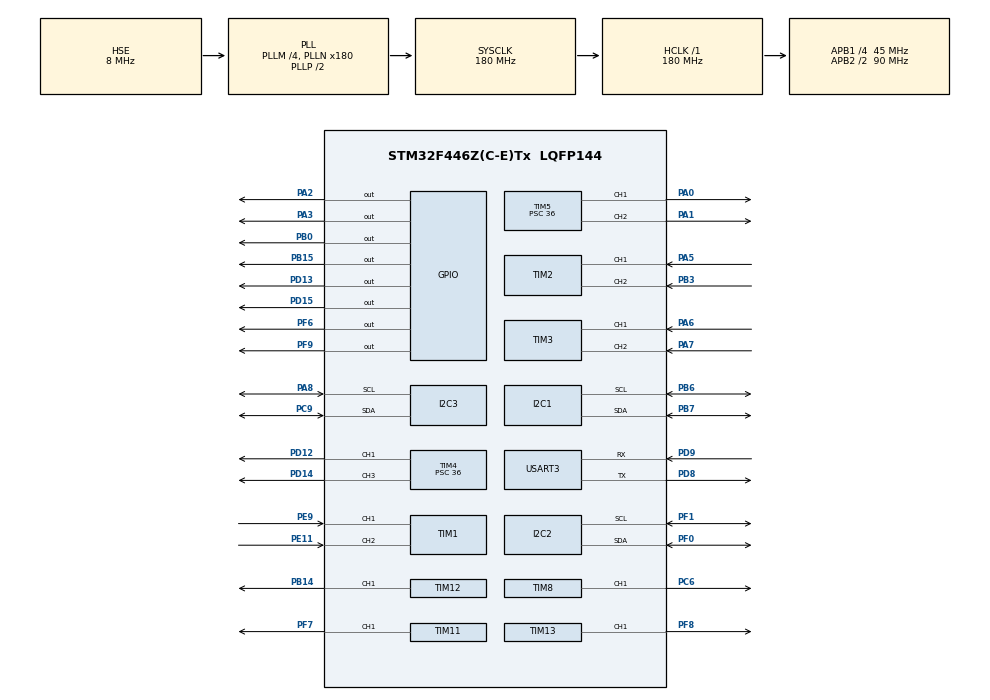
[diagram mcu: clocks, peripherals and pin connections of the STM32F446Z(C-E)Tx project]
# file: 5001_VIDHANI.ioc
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Mcu.Family=STM32F4
Mcu.Name=STM32F446Z(C-E)Tx
Mcu.Package=LQFP144
NVIC.PriorityGroup=NVIC_PRIORITYGROUP_4
PA0-WKUP.Signal=S_TIM5_CH1
PA1.Signal=S_TIM5_CH2
PA2.Signal=GPIO_Output
PA3.Signal=GPIO_Output
PA5.Signal=S_TIM2_CH1_ETR
PA6.Signal=S_TIM3_CH1
PA7.Signal=S_TIM3_CH2
PA8.Mode=I2C
PA8.Signal=I2C3_SCL
PB0.Signal=GPIO_Output
PB14.Signal=S_TIM12_CH1
PB15.Signal=GPIO_Output
PB3.Signal=S_TIM2_CH2
PB6.Mode=I2C
PB6.Signal=I2C1_SCL
PB7.Mode=I2C
PB7.Signal=I2C1_SDA
PC14-OSC32_IN.Mode=LSE-External-Oscillator
PC14-OSC32_IN.Signal=RCC_OSC32_IN
PC15-OSC32_OUT.Mode=LSE-External-Oscillator
PC15-OSC32_OUT.Signal=RCC_OSC32_OUT
PC6.Signal=S_TIM8_CH1
PC9.Mode=I2C
PC9.Signal=I2C3_SDA
PD12.Signal=S_TIM4_CH1
PD13.Signal=GPIO_Output
PD14.Signal=S_TIM4_CH3
PD15.Signal=GPIO_Output
PD8.Mode=Asynchronous
PD8.Signal=USART3_TX
PD9.Mode=Asynchronous
PD9.Signal=USART3_RX
PE11.Signal=S_TIM1_CH2
PE9.Signal=S_TIM1_CH1
PF0.Mode=I2C
PF0.Signal=I2C2_SDA
PF1.Mode=I2C
PF1.Signal=I2C2_SCL
PF6.Signal=GPIO_Output
PF7.Signal=S_TIM11_CH1
PF8.Signal=S_TIM13_CH1
PF9.Signal=GPIO_Output
PH0-OSC_IN.Mode=HSE-External-Oscillator
PH0-OSC_IN.Signal=RCC_OSC_IN
PH1-OSC_OUT.Mode=HSE-External-Oscillator
PH1-OSC_OUT.Signal=RCC_OSC_OUT
ProjectManager.HeapSize=0x200
ProjectManager.StackSize=0x400
ProjectManager.TargetToolchain=STM32CubeIDE
RCC.48MHZClocksFreq_Value=24000000
RCC.AHBFreq_Value=180000000
RCC.APB1CLKDivider=RCC_HCLK_DIV4
RCC.APB1Freq_Value=45000000
RCC.APB1TimFreq_Value=90000000
RCC.APB2CLKDivider=RCC_HCLK_DIV2
RCC.APB2Freq_Value=90000000
RCC.APB2TimFreq_Value=180000000
RCC.CortexFreq_Value=180000000
RCC.HCLKFreq_Value=180000000
RCC.HSE_Timout=100
RCC.HSE_VALUE=8000000
RCC.HSI_VALUE=16000000
RCC.PLLM=4
RCC.PLLMUL=RCC_PLL_MUL9
RCC.PLLN=180
RCC.PLLSourceVirtual=RCC_PLLSOURCE_HSE
RCC.PRESCALERUSB=RCC_USBCLKSOURCE_PLL_DIV1_5
RCC.SYSCLKFreq_VALUE=180000000
RCC.SYSCLKSource=RCC_SYSCLKSOURCE_PLLCLK
RCC.SYSCLKSourceVirtual=RCC_SYSCLKSOURCE_PLLCLK
RCC.USBFreq_Value=180000000
RCC.VCOOutputFreq_Value=360000000
SH.S_TIM11_CH1.0=TIM11_CH1,PWM Generation1 CH1
SH.S_TIM12_CH1.0=TIM12_CH1,PWM Generation1 CH1
SH.S_TIM13_CH1.0=TIM13_CH1,PWM Generation1 CH1
SH.S_TIM1_CH1.0=TIM1_CH1,Encoder_Interface
SH.S_TIM1_CH2.0=TIM1_CH2,Encoder_Interface
SH.S_TIM2_CH1_ETR.0=TIM2_CH1,Encoder_Interface
SH.S_TIM2_CH2.0=TIM2_CH2,Encoder_Interface
SH.S_TIM3_CH1.0=TIM3_CH1,Encoder_Interface
SH.S_TIM3_CH2.0=TIM3_CH2,Encoder_Interface
SH.S_TIM4_CH1.0=TIM4_CH1,PWM Generation1 CH1
SH.S_TIM4_CH3.0=TIM4_CH3,PWM Generation3 CH3
SH.S_TIM5_CH1.0=TIM5_CH1,PWM Generation1 CH1
SH.S_TIM5_CH2.0=TIM5_CH2,PWM Generation2 CH2
SH.S_TIM8_CH1.0=TIM8_CH1,PWM Generation1 CH1
TIM11.Channel=TIM_CHANNEL_1
TIM11.Prescaler=36
TIM12.Channel-PWM\ Generation1\ CH1=TIM_CHANNEL_1
TIM12.Period=256
TIM12.Prescaler=36
TIM13.Channel=TIM_CHANNEL_1
TIM13.Prescaler=36
TIM4.Channel-PWM\ Generation1\ CH1=TIM_CHANNEL_1
TIM4.Channel-PWM\ Generation3\ CH3=TIM_CHANNEL_3
TIM4.Prescaler=36
TIM5.Channel-PWM\ Generation1\ CH1=TIM_CHANNEL_1
TIM5.Channel-PWM\ Generation2\ CH2=TIM_CHANNEL_2
TIM5.Period=256
TIM5.Prescaler=36
TIM8.Channel-PWM\ Generation1\ CH1=TIM_CHANNEL_1
TIM8.Period=255
TIM8.Prescaler=36
USART3.VirtualMode=VM_ASYNC
VP_TIM11_VS_ClockSourceINT.Mode=Enable_Timer
VP_TIM12_VS_ClockSourceINT.Mode=Internal
VP_TIM13_VS_ClockSourceINT.Mode=Enable_Timer
VP_TIM14_VS_ClockSourceINT.Mode=Enable_Timer
VP_TIM5_VS_ClockSourceINT.Mode=Internal
VP_TIM8_VS_ClockSourceINT.Mode=Internal
board=NUCLEO-F446ZE

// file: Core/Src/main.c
/* USER CODE BEGIN Header */
/**
 ******************************************************************************
 * @file           : main.c
 * @brief          : Main program body
 ******************************************************************************
 * @attention
 *
 * Copyright (c) 2026 STMicroelectronics.
 * All rights reserved.
 *
 * This software is licensed under terms that can be found in the LICENSE file
 * in the root directory of this software component.
 * If no LICENSE file comes with this software, it is provided AS-IS.
 *
 ******************************************************************************
 */
/* USER CODE END Header */
#include "main.h"

/* USER CODE BEGIN Includes */
#include <stdio.h>
#include <string.h>
#include <stdlib.h>
#include <stdbool.h>
#include"Encoderlib.h"
#include "Cytron.h"
#include "PCA9685.h"
#include "OdriveS1.h"
#include <math.h>
/* USER CODE END Includes */

/* USER CODE BEGIN PTD */
Cytron SM1;
Cytron Turret;
Cytron Belt;

/* USER CODE END PTD */

/* USER CODE BEGIN PD */
Cytron m1, m2, m3;

encoder_instance L_enc, R_enc, F_enc;
uint16_t timer_counter1, timer_counter2, timer_counter3, timer_counter4;
float L_dist, R_dist, F_dist;
#define CPR 8192
#define WHEEL_RADIUS 5.4/2.0

#define LENGTH1 13.5
#define LENGTH2 13.5
#define LENGTH3 26        // x axis wheel

#define PI 3.14159265358979323846
float x_local, y_local, x_global, y_global;
double FCount = 0, LCount = 0, RCount = 0;
double prevFCount = 0, prevLCount = 0, prevRCount = 0;
double dF, dL, dR;
double xPosition = 0;
double yPosition = 0;
double thetaPosition = 0;

double deltaX, deltaY;
double deltaX_global, deltaY_global;

bool reached = false;

double prevTheta = 0;   // IMU previous heading

#define BNO055_ADDR (0x28 << 1)
#define PWR_MODE 0x3E
#define OPR_MODE 0x3D
#define EUL_DATA_START 0x1A

uint8_t bno_data[6];
float current_heading, current_roll, current_pitch;

#define radius       1
#define length       1
#define MAX_PWM       120
#define LINEAR_PWM   60
#define DEADZONE     20
#define dt           0.001

int pwm1, pwm2, pwm3;
float PWM1, PWM2, PWM3;

float bot_vel, theta;
int16_t omega;
bool flag = false;
bool moving = false;
bool is_omega = false;
bool pid_tim = false;
bool horizontal = false;
bool vertical = false;
bool point = false;

float P, I, D;
float p, i, d;

float kp = 1.1;   // linear pid
float ki = 0;
float kd = 0;

float Kp = 1.1;   // correction pid
float Ki = 0;
float Kd = 0;

float KP = 2.8; // angular pid
float KI = 0;
float KD = 0.5;

float vel;

float error, error1, error2, d_error;
float ERR, ERR1, ERR2, D_error;
float correction;
float CORRECTION;
float target_heading = 0;

float target_distance, current_distance, angle;

bool pid = true;

unsigned long t_start, t_end;
float dt2;

volatile bool imu = false;
volatile bool value = false;

uint32_t i2c1, i2c2;

/* USER CODE END PD */

/* USER CODE BEGIN PM */
#define data_size 7
#define slave_addr 8

#define DEADZONE  20

/* USER CODE END PM */

I2C_HandleTypeDef hi2c1;
I2C_HandleTypeDef hi2c2;
I2C_HandleTypeDef hi2c3;

TIM_HandleTypeDef htim1;
TIM_HandleTypeDef htim2;
TIM_HandleTypeDef htim3;
TIM_HandleTypeDef htim4;
TIM_HandleTypeDef htim5;
TIM_HandleTypeDef htim8;
TIM_HandleTypeDef htim11;
TIM_HandleTypeDef htim12;
TIM_HandleTypeDef htim13;
TIM_HandleTypeDef htim14;

UART_HandleTypeDef huart3;

/* USER CODE BEGIN PV */
int8_t data[data_size];

char msg[300];
int L_joystick_x = 0, L_joystick_y = 0, R_joystick_x = 0, R_joystick_y = 0;

bool right;
bool down;
bool up;
bool left;
bool square;
bool cross;
bool circle;
bool triangle;

bool PS, Touchpad, Options, Share, R3, L3, R1, L1;

PCA_t PCA;
/* USER CODE END PV */

void SystemClock_Config(void);
static void MX_GPIO_Init(void);
static void MX_TIM8_Init(void);
static void MX_I2C1_Init(void);
static void MX_USART3_UART_Init(void);
static void MX_I2C3_Init(void);
static void MX_TIM5_Init(void);
static void MX_TIM12_Init(void);
static void MX_TIM13_Init(void);
static void MX_TIM14_Init(void);
static void MX_TIM4_Init(void);
static void MX_TIM11_Init(void);
static void MX_TIM1_Init(void);
static void MX_TIM2_Init(void);
static void MX_TIM3_Init(void);
static void MX_I2C2_Init(void);

/* USER CODE BEGIN 0 */

uint8_t RxData[8];

uint32_t blink_delay;

char msg1[150];

float radians(float angle) {
	return angle * 2 * 3.14159265358979323846 / 360.0;
}

float degrees(float angle) {
	return angle * 360.0 / (2 * 3.14159265358979323846);
}

//  long map(long x, long in_min, long in_max, long out_min, long out_max)
//  {
//    return (x - in_min) * (out_max - out_min) / (in_max - in_min) + out_min;
//  }

float constrain(float num, float min, float max) {

	if (num > max) {
		return max;
	}

	else if (num < min) {
		return min;
	}

	else {
		return num;
	}
}

void BNO055_init() {

	uint8_t pwr = 0x00;
	uint8_t opr = 0x0C;
	uint8_t config = 0x00;

	HAL_I2C_Mem_Write(&hi2c2, BNO055_ADDR, OPR_MODE, 1, &config, 1, 100); // setting to config mode
	HAL_I2C_Mem_Write(&hi2c2, BNO055_ADDR, PWR_MODE, 1, &pwr, 1, 100); // setting bno055 to normal mode
	HAL_I2C_Mem_Write(&hi2c2, BNO055_ADDR, OPR_MODE, 1, &opr, 1, 100); // setting to Ndof mode

	HAL_Delay(700);

}

float normalise_angle(float angle) {
	if (angle > 180.0) {
		angle -= 360.0;
	}
	if (angle < -180.0) {
		angle += 360.0;
	}
	return angle;
}

void get_angle() {

	if (HAL_I2C_Mem_Read(&hi2c2, BNO055_ADDR, EUL_DATA_START, 1, bno_data, 6,
			100) == HAL_OK) {

		int16_t heading_raw = (int16_t) ((bno_data[1] << 8) | bno_data[0]);
		current_heading = heading_raw / 16.0;

		current_heading = -normalise_angle(current_heading);
	}
}

void rotate_motor(int pwm1, int pwm2, int pwm3) {

	RotateCytron(&m1, pwm1);
	RotateCytron(&m2, pwm2);
	RotateCytron(&m3, pwm3);

}

void find_wheel_vel(){

	  bot_vel = sqrt( pow(L_joystick_x, 2) + pow( L_joystick_y, 2) );
	  theta = atan2(L_joystick_y, L_joystick_x) - radians(target_heading);

	  pwm1 = constrain(((bot_vel*cos(theta) - (length*omega)) / radius) + CORRECTION, -MAX_PWM, MAX_PWM);
	  pwm2 = constrain(((sqrt(3)*bot_vel*sin(theta) - bot_vel*cos(theta) - 2*length*omega) / (2*radius)) + CORRECTION, -MAX_PWM, MAX_PWM);
	  pwm3 = constrain((-1*((bot_vel*cos(theta) + sqrt(3)*bot_vel*sin(theta) + 2*length*omega) / (2*radius))) + CORRECTION, -MAX_PWM, MAX_PWM);

}

void PID2() {

	ERR = normalise_angle(target_heading - current_heading);
	D_error = ERR - ERR2;
	ERR2 = ERR;

	p = ERR * KP;
	i = i + (ERR * (float) dt2 * KI);
	d = (D_error / (float) dt2) * KD;

	CORRECTION = p + i + d;

}

//void get_enc_value() {
//
//	//        timer_counter1 = __HAL_TIM_GET_COUNTER(&htim1);
//	//      	timer_counter2 = __HAL_TIM_GET_COUNTER(&htim2);
//	//      	timer_counter3 = __HAL_TIM_GET_COUNTER(&htim3);
//
//	update_encoder(&L_enc, &htim1);
//	update_encoder(&R_enc, &htim2);
//	update_encoder(&F_enc, &htim3);
//
//	double trueTheta = radians(current_heading);
//
//	// IMU DELTA THETA
//	double delTheta = trueTheta - prevTheta;
//
//	if (delTheta > PI) {
//		delTheta -= 2 * PI;
//	}
//
//	if (delTheta < -PI) {
//		delTheta += 2 * PI;
//	}
//
//	double midTheta = prevTheta + (delTheta / 2.0);
//
//	// ENCODER READ
//	FCount = F_enc.position;
//	LCount = L_enc.position;
//	//      	  RCount = R_enc.position;
//	RCount = 0;
//
//	dF = FCount - prevFCount;
//	dL = LCount - prevLCount;
//	dR = RCount - prevRCount;
//
//	// TRANSLATION
//	deltaX = (dF / CPR) * 2 * PI * WHEEL_RADIUS * 650.0 / 625.0;
//	//deltaY = (((dL + dR) / 2.0 )/ CPR) * 2 * PI * RADIUS;
//	deltaY = (dL / CPR) * 2 * PI * WHEEL_RADIUS * 650.0 / 620.0;
//	xPosition += deltaX;
//	yPosition -= deltaY;
//
//	prevFCount = FCount;
//	prevLCount = LCount;
//	prevRCount = RCount;
//	prevTheta = trueTheta;
//}

//void move1(float x1, float y1, float x2, float y2) {
//
//	//	  bot_vel = sqrt( pow(L_joystick_x, 2) + pow( L_joystick_y, 2) );
//	//	  theta = atan2(L_joystick_y, L_joystick_x) - radians(target_heading);
//
//	target_distance = sqrt(pow(x1 - x2, 2) + pow(y1 - y2, 2));
//	current_distance = sqrt(pow(xPosition - x1, 2) + pow(yPosition - y1, 2));
//
//	//float angle = atan2(y2 - y1, x2 - x1) - radians(target_heading);
//	angle = atan2(y2 - yPosition, x2 - xPosition) - radians(target_heading);
//
//	error = target_distance - current_distance;
//	d_error = error - error2;
//	error2 = error;
//
//	P = error * kp;
//	I = I + (error * dt2 * ki);
//	D = (D_error / dt2) * kd;
//
//	vel = (P + I + D);
//
//	PWM1 = constrain(((vel * cos(angle) - (length * omega))) / radius,
//			-LINEAR_PWM, LINEAR_PWM);
//	PWM2 =
//			constrain(
//					((sqrt(3) * vel * sin(angle) - vel * cos(angle)
//							- 2 * length * omega) / (2 * radius)), -LINEAR_PWM,
//					LINEAR_PWM);
//	PWM3 = constrain(
//			(-1
//					* ((vel * cos(angle) + sqrt(3) * vel * sin(angle)
//							+ 2 * length * omega) / (2 * radius))), -LINEAR_PWM,
//			LINEAR_PWM);
//
//	pwm1 = constrain(PWM1 + CORRECTION, -MAX_PWM, MAX_PWM);
//	pwm2 = constrain(PWM2 + CORRECTION, -MAX_PWM, MAX_PWM);
//	pwm3 = constrain(PWM3 + CORRECTION, -MAX_PWM, MAX_PWM);
//
//	//    	       pwm1 = constrain(   CORRECTION , -MAX_PWM, MAX_PWM);
//	//    	    	pwm2 = constrain(   CORRECTION - 40 , -MAX_PWM, MAX_PWM);
//	//    	    	pwm3 = constrain(   CORRECTION  + 40, -MAX_PWM, MAX_PWM);
//
//	if (abs(error) < 5) {
//		reached = true;
//		//rotate_motor(0, 0, 0);
//	}
//}
//
//void move2(float x1, float y1, float x2, float y2) {
//	PID2();
//
//	if (!vertical) {
//		move1(x1, y1, x1, y2);
////   		  sprintf(msg, "x = %.2f   y = %.2f  pwm1 = %f, pwm2 = %f, pwm3 = %f  angle = %2.f  %.2f error%.2f  %.2f \r\n" ,xPosition , yPosition, PWM1, PWM2, PWM3, degrees(angle), current_heading, error, vel);
////   		       HAL_UART_Transmit(&huart3, (uint8_t*)msg, strlen(msg), HAL_MAX_DELAY);
//		if (!reached) {
//			//      move1(x1, y1, x1, y2);
//			//      sprintf(msg, "x = %.2f   y = %.2f  pwm1 = %d, pwm2 = %d, pwm3 = %d vertical angle = %2.f  %.2f \r\n" ,xPosition , yPosition, pwm1, pwm2, pwm3, degrees(angle), current_heading);
//			//      HAL_UART_Transmit(&huart3, (uint8_t*)msg, strlen(msg), HAL_MAX_DELAY);
//		} else {
//			//	  move1(x1, y1, x1, y2);
//			vertical = false;
//			reached = false;
//			//HAL_Delay(250);
//			//	  sprintf(msg, "x = %.2f   y = %.2f error = %.2f reached vertical \r\n" ,xPosition , yPosition, error);
//			//	       HAL_UART_Transmit(&huart3, (uint8_t*)msg, strlen(msg), HAL_MAX_DELAY);
//		}
//
//	}
//
//	if (!horizontal && vertical) {
//		if (!reached) {
//			//      move1(x1, y1, x1, y2);
//			move1(x1, y2, x2, y2);
//			//           sprintf(msg, "x = %.2f   y = %.2f  pwm1 = %f, pwm2 = %f, pwm3 = %f horizontal angle = %2.f  %.2f  %.2f\r\n" ,xPosition , yPosition, pwm1, pwm2, pwm3, degrees(angle), current_heading, vel);
//			//           HAL_UART_Transmit(&huart3, (uint8_t*)msg, strlen(msg), HAL_MAX_DELAY);
//		} else {
//			move1(x1, y2, x2, y2);
//			horizontal = true;
//			reached = false;
//			//HAL_Delay(25000000);
//			//	  sprintf(msg, "x = %.2f   y = %.2f error = %.2f reached vertical \r\n" ,xPosition , yPosition, error);
//			//	       HAL_UART_Transmit(&huart3, (uint8_t*)msg, strlen(msg), HAL_MAX_DELAY);
//		}
//	}
//}

void get_value() {

	if (HAL_OK
			== (HAL_I2C_Master_Receive(&hi2c1, slave_addr << 1, (uint8_t*) data,
			data_size, HAL_MAX_DELAY))) {

		up = ((data[0] & (1 << 0)) ? 1 : 0);
		right = ((data[0] & (1 << 1)) ? 1 : 0);
		down = ((data[0] & (1 << 2)) ? 1 : 0);
		left = ((data[0] & (1 << 3)) ? 1 : 0);
		triangle = ((data[0] & (1 << 4)) ? 1 : 0);
		circle = ((data[0] & (1 << 5)) ? 1 : 0);
		cross = ((data[0] & (1 << 6)) ? 1 : 0);
		square = ((data[0] & (1 << 7)) ? 1 : 0);

		L1 = ((data[1] & (1 << 0)) ? 1 : 0);
		R1 = ((data[1] & (1 << 1)) ? 1 : 0);
		L3 = ((data[1] & (1 << 2)) ? 1 : 0);
		R3 = ((data[1] & (1 << 3)) ? 1 : 0);
		Share = ((data[1] & (1 << 4)) ? 1 : 0);
		Options = ((data[1] & (1 << 5)) ? 1 : 0);
		Touchpad = ((data[1] & (1 << 6)) ? 1 : 0);
		PS = ((data[1] & (1 << 7)) ? 1 : 0);

		omega = data[6];
		R_joystick_y = data[5];
		R_joystick_x = data[4];
		L_joystick_x = data[2];
		L_joystick_y = data[3];

		if (abs(L_joystick_x) < DEADZONE) {
			L_joystick_x = 0;
		}
		if (abs(L_joystick_y) < DEADZONE) {
			L_joystick_y = 0;
		}
		if (abs(omega) < DEADZONE) {
			omega = 0;
		}

		sprintf(msg,
				" sq %d x %d o %d tri %d left %d down %d right %d up %d  PS %d Touchpad %d Options %d Share %d R3 %d L3 %d R1 %d L1 %d lx %d ly %d rx %d ry%d omega %d \r\n",
				square, cross, circle, triangle, left, down, right, up, PS,
				Touchpad, Options, Share, R3, L3, R1, L1, L_joystick_x,
				L_joystick_y, R_joystick_x, R_joystick_y, omega);

		//sprintf(msg,"%d   %d\r\n" data[4], data[5]);
		HAL_UART_Transmit(&huart3, (uint8_t*) msg, strlen(msg), HAL_MAX_DELAY);

	}
}

void STAFF_Motor() {
	if (R_joystick_y > 50) {
		RotateCytron(&SM1, 50);
	} else if (R_joystick_y < -50) {
		RotateCytron(&SM1, -50);
	} else {
		StopCytron(&SM1);
	}

}

typedef struct {
	bool prevState;
	bool flag;
} ToggleButton;

ToggleButton StaffGripServo = { 0 };
ToggleButton StaffAttackServo = { 0 };

void STAFF_Servo() {
	// GRIP SERVO
	if (square && !StaffGripServo.prevState) {
		StaffGripServo.prevState = true;
		StaffGripServo.flag = !StaffGripServo.flag;

		if (StaffGripServo.flag) {
//			RotateServo(&PCA, GRIP_SERVO_1, GRIP_SERVO_1_GRIP_ANGLE);
//			RotateServo(&PCA, 8, 90);
			RotateServo(&PCA, 11, 90);
			RotateServo(&PCA, 3, 90);
		} else {
//			RotateServo(&PCA, GRIP_SERVO_1, GRIP_SERVO_1_RELEASE_ANGLE);
//			RotateServo(&PCA, 8, 150);
			RotateServo(&PCA, 11, 150);
			RotateServo(&PCA, 3, 150);
		}
	} else if (!square) {
		StaffGripServo.prevState = false;
	}

	// ATTACK SERVO
	if (triangle && !StaffAttackServo.prevState) {
		StaffAttackServo.prevState = true;
		StaffAttackServo.flag = !StaffAttackServo.flag;

		if (StaffAttackServo.flag) {
//			RotateServo(&PCA, ATTACK_SERVO_1, ATTACK_SERVO_1_ATTACK_ANGLE);
			RotateServo(&PCA, 12, 110);
			RotateServo(&PCA, 10, 15);
			RotateServo(&PCA, 2, 67);
		} else {
//			RotateServo(&PCA, ATTACK_SERVO_1, ATTACK_SERVO_1_NORMAL_ANGLE);
			RotateServo(&PCA, 12, 110 + 47);
			RotateServo(&PCA, 10, 58);
			RotateServo(&PCA, 2, 110);
		}
	} else if (!triangle) {
		StaffAttackServo.prevState = false;
	}
}

void STAFF_Motion() {
	STAFF_Motor();
	STAFF_Servo();
}

void TurretMotor() {
	if (right) {
		RotateCytron(&Turret, 50);
	} else if (left) {
		RotateCytron(&Turret, -50);
	} else {
		StopCytron(&Turret);
	}
}

void BeltMotor() {
	if (up) {
		RotateCytron(&Belt, 50);
	} else if (down) {
		RotateCytron(&Belt, -50);
	} else {
		StopCytron(&Belt);
	}
}

ToggleButton KFSPickServo = { 0 };

void KFS_Pick_Servo() {
	// GRIP SERVO
	if (circle && !KFSPickServo.prevState) {
		KFSPickServo.prevState = true;
		KFSPickServo.flag = !KFSPickServo.flag;

		if (KFSPickServo.flag) {
			RotateServo(&PCA, 7, 60);	//RIGHT
			RotateServo(&PCA, 4, 160);	//LEFT
		} else {
			RotateServo(&PCA, 7, 160);	//RIGHT
			RotateServo(&PCA, 4, 60);	//LEFT
		}
	} else if (!circle) {
		KFSPickServo.prevState = false;
	}
}

OdriveS1 Screw;
ToggleButton ODrive = { 0 };

void Screw_ODrive() {
	if (Touchpad && !ODrive.prevState) {
		ODrive.prevState = true;
		ODrive.flag = !ODrive.flag;

		if (ODrive.flag) {
			//ODrive_goTo(OdriveS1 *dev, float position, float velocity)
			ODrive_goTo(&Screw, 50.0f, 30.0f);
		} else {
			ODrive_goTo(&Screw, 0.0f, 30.0f);
		}
	} else if (!Touchpad) {
		ODrive.prevState = false;
	}

}

/* USER CODE END 0 */

int main(void)
{

  /* MCU Configuration--------------------------------------------------------*/

  /* Reset of all peripherals, Initializes the Flash interface and the Systick. */
  HAL_Init();

  /* Configure the system clock */
  SystemClock_Config();

  /* Initialize all configured peripherals */
  MX_GPIO_Init();
  MX_TIM8_Init();
  MX_I2C1_Init();
  MX_USART3_UART_Init();
  MX_I2C3_Init();
  MX_TIM5_Init();
  MX_TIM12_Init();
  MX_TIM13_Init();
  MX_TIM14_Init();
  MX_TIM4_Init();
  MX_TIM11_Init();
  MX_TIM1_Init();
  MX_TIM2_Init();
  MX_TIM3_Init();
  MX_I2C2_Init();
  /* USER CODE BEGIN 2 */
	InitCytron(&SM1, &htim8, TIM_CHANNEL_1, GPIOA, GPIO_PIN_3, 0);
	InitCytron(&Turret, &htim5, TIM_CHANNEL_2, GPIOA, GPIO_PIN_2, 0);
	InitCytron(&Belt, &htim13, TIM_CHANNEL_1, GPIOF, GPIO_PIN_9, 1);

	InitPCA(&PCA, &hi2c3, 50);
	HAL_Delay(3000);

	Screw.huart = &huart3;

	BNO055_init();

	InitCytron(&m1, &htim11, TIM_CHANNEL_1, GPIOF, GPIO_PIN_6, 1); // DIR PF6   PWM PF7
	InitCytron(&m2, &htim4, TIM_CHANNEL_1, GPIOD, GPIO_PIN_13, 1); // DIR PD13  PWM PD12
	InitCytron(&m3, &htim4, TIM_CHANNEL_3, GPIOD, GPIO_PIN_15, 1); // DIR PD15  PWM PD14

	HAL_TIM_Encoder_Start(&htim1, TIM_CHANNEL_ALL);
	HAL_TIM_Encoder_Start(&htim2, TIM_CHANNEL_ALL);
	HAL_TIM_Encoder_Start(&htim3, TIM_CHANNEL_ALL);

	current_heading = 0;
  /* USER CODE END 2 */

  /* Infinite loop */
	while (1) {

    /* USER CODE BEGIN 3 */
		get_value();

		t_start = HAL_GetTick();
		dt2 = (t_start - t_end) / 1000.0;
		t_end = t_start;

		if (imu) {
			get_angle();
			imu = false;
		}

		if (omega) {
			pid = false;
			flag = true;
		}

		if (!omega && flag) {
			flag = false;
			pid = true;
			target_heading = current_heading;
		}

		if (pid) {
			PID2();
		}

		find_wheel_vel();
		rotate_motor(pwm1, pwm2, pwm3);

		//           	      	 sprintf(msg, "x = %.2f   y = %.2f \r\n" ,xPosition , yPosition);
		//           	      	 HAL_UART_Transmit(&huart3, (uint8_t*)msg, strlen(msg), HAL_MAX_DELAY);

//	           		 sprintf(msg, "%.2f   %d   %d   %d   p = %.2f  i = %.2f   d = %.2f     \r\n"  , current_heading, L_joystick_x, L_joystick_y, pid, p, i, d);
//	           		 HAL_UART_Transmit(&huart3, (uint8_t*)msg, strlen(msg), HAL_MAX_DELAY);

		STAFF_Motion();
		TurretMotor();
		BeltMotor();
		KFS_Pick_Servo();
		HAL_GPIO_TogglePin(GPIOB, GPIO_PIN_0);
		Screw_ODrive();
//		RotateCytron(&SM1, 20);
//		HAL_Delay(2000);
//		StopCytron(&SM1);
//		HAL_Delay(2000);

		HAL_Delay(10);

	}
  /* USER CODE END 3 */
}

void SystemClock_Config(void)
{
  RCC_OscInitTypeDef RCC_OscInitStruct = {0};
  RCC_ClkInitTypeDef RCC_ClkInitStruct = {0};

  /** Configure the main internal regulator output voltage
  */
  __HAL_RCC_PWR_CLK_ENABLE();
  __HAL_PWR_VOLTAGESCALING_CONFIG(PWR_REGULATOR_VOLTAGE_SCALE1);

  /** Initializes the RCC Oscillators according to the specified parameters
  * in the RCC_OscInitTypeDef structure.
  */
  RCC_OscInitStruct.OscillatorType = RCC_OSCILLATORTYPE_HSE;
  RCC_OscInitStruct.HSEState = RCC_HSE_ON;
  RCC_OscInitStruct.PLL.PLLState = RCC_PLL_ON;
  RCC_OscInitStruct.PLL.PLLSource = RCC_PLLSOURCE_HSE;
  RCC_OscInitStruct.PLL.PLLM = 4;
  RCC_OscInitStruct.PLL.PLLN = 180;
  RCC_OscInitStruct.PLL.PLLP = RCC_PLLP_DIV2;
  RCC_OscInitStruct.PLL.PLLQ = 2;
  RCC_OscInitStruct.PLL.PLLR = 2;
  if (HAL_RCC_OscConfig(&RCC_OscInitStruct) != HAL_OK)
  {
    Error_Handler();
  }

  /** Activate the Over-Drive mode
  */
  if (HAL_PWREx_EnableOverDrive() != HAL_OK)
  {
    Error_Handler();
  }

  /** Initializes the CPU, AHB and APB buses clocks
  */
  RCC_ClkInitStruct.ClockType = RCC_CLOCKTYPE_HCLK|RCC_CLOCKTYPE_SYSCLK
                              |RCC_CLOCKTYPE_PCLK1|RCC_CLOCKTYPE_PCLK2;
  RCC_ClkInitStruct.SYSCLKSource = RCC_SYSCLKSOURCE_PLLCLK;
  RCC_ClkInitStruct.AHBCLKDivider = RCC_SYSCLK_DIV1;
  RCC_ClkInitStruct.APB1CLKDivider = RCC_HCLK_DIV4;
  RCC_ClkInitStruct.APB2CLKDivider = RCC_HCLK_DIV2;

  if (HAL_RCC_ClockConfig(&RCC_ClkInitStruct, FLASH_LATENCY_5) != HAL_OK)
  {
    Error_Handler();
  }
}

static void MX_I2C1_Init(void)
{

  hi2c1.Instance = I2C1;
  hi2c1.Init.ClockSpeed = 100000;
  hi2c1.Init.DutyCycle = I2C_DUTYCYCLE_2;
  hi2c1.Init.OwnAddress1 = 0;
  hi2c1.Init.AddressingMode = I2C_ADDRESSINGMODE_7BIT;
  hi2c1.Init.DualAddressMode = I2C_DUALADDRESS_DISABLE;
  hi2c1.Init.OwnAddress2 = 0;
  hi2c1.Init.GeneralCallMode = I2C_GENERALCALL_DISABLE;
  hi2c1.Init.NoStretchMode = I2C_NOSTRETCH_DISABLE;
  if (HAL_I2C_Init(&hi2c1) != HAL_OK)
  {
    Error_Handler();
  }

}

static void MX_I2C2_Init(void)
{

  hi2c2.Instance = I2C2;
  hi2c2.Init.ClockSpeed = 100000;
  hi2c2.Init.DutyCycle = I2C_DUTYCYCLE_2;
  hi2c2.Init.OwnAddress1 = 0;
  hi2c2.Init.AddressingMode = I2C_ADDRESSINGMODE_7BIT;
  hi2c2.Init.DualAddressMode = I2C_DUALADDRESS_DISABLE;
  hi2c2.Init.OwnAddress2 = 0;
  hi2c2.Init.GeneralCallMode = I2C_GENERALCALL_DISABLE;
  hi2c2.Init.NoStretchMode = I2C_NOSTRETCH_DISABLE;
  if (HAL_I2C_Init(&hi2c2) != HAL_OK)
  {
    Error_Handler();
  }

}

static void MX_I2C3_Init(void)
{

  hi2c3.Instance = I2C3;
  hi2c3.Init.ClockSpeed = 100000;
  hi2c3.Init.DutyCycle = I2C_DUTYCYCLE_2;
  hi2c3.Init.OwnAddress1 = 0;
  hi2c3.Init.AddressingMode = I2C_ADDRESSINGMODE_7BIT;
  hi2c3.Init.DualAddressMode = I2C_DUALADDRESS_DISABLE;
  hi2c3.Init.OwnAddress2 = 0;
  hi2c3.Init.GeneralCallMode = I2C_GENERALCALL_DISABLE;
  hi2c3.Init.NoStretchMode = I2C_NOSTRETCH_DISABLE;
  if (HAL_I2C_Init(&hi2c3) != HAL_OK)
  {
    Error_Handler();
  }

}

static void MX_TIM1_Init(void)
{

  TIM_Encoder_InitTypeDef sConfig = {0};
  TIM_MasterConfigTypeDef sMasterConfig = {0};

  htim1.Instance = TIM1;
  htim1.Init.Prescaler = 0;
  htim1.Init.CounterMode = TIM_COUNTERMODE_UP;
  htim1.Init.Period = 65535;
  htim1.Init.ClockDivision = TIM_CLOCKDIVISION_DIV1;
  htim1.Init.RepetitionCounter = 0;
  htim1.Init.AutoReloadPreload = TIM_AUTORELOAD_PRELOAD_DISABLE;
  sConfig.EncoderMode = TIM_ENCODERMODE_TI1;
  sConfig.IC1Polarity = TIM_ICPOLARITY_RISING;
  sConfig.IC1Selection = TIM_ICSELECTION_DIRECTTI;
  sConfig.IC1Prescaler = TIM_ICPSC_DIV1;
  sConfig.IC1Filter = 0;
  sConfig.IC2Polarity = TIM_ICPOLARITY_RISING;
  sConfig.IC2Selection = TIM_ICSELECTION_DIRECTTI;
  sConfig.IC2Prescaler = TIM_ICPSC_DIV1;
  sConfig.IC2Filter = 0;
  if (HAL_TIM_Encoder_Init(&htim1, &sConfig) != HAL_OK)
  {
    Error_Handler();
  }
  sMasterConfig.MasterOutputTrigger = TIM_TRGO_RESET;
  sMasterConfig.MasterSlaveMode = TIM_MASTERSLAVEMODE_DISABLE;
  if (HAL_TIMEx_MasterConfigSynchronization(&htim1, &sMasterConfig) != HAL_OK)
  {
    Error_Handler();
  }

}

static void MX_TIM2_Init(void)
{

  TIM_Encoder_InitTypeDef sConfig = {0};
  TIM_MasterConfigTypeDef sMasterConfig = {0};

  htim2.Instance = TIM2;
  htim2.Init.Prescaler = 0;
  htim2.Init.CounterMode = TIM_COUNTERMODE_UP;
  htim2.Init.Period = 4294967295;
  htim2.Init.ClockDivision = TIM_CLOCKDIVISION_DIV1;
  htim2.Init.AutoReloadPreload = TIM_AUTORELOAD_PRELOAD_DISABLE;
  sConfig.EncoderMode = TIM_ENCODERMODE_TI1;
  sConfig.IC1Polarity = TIM_ICPOLARITY_RISING;
  sConfig.IC1Selection = TIM_ICSELECTION_DIRECTTI;
  sConfig.IC1Prescaler = TIM_ICPSC_DIV1;
  sConfig.IC1Filter = 0;
  sConfig.IC2Polarity = TIM_ICPOLARITY_RISING;
  sConfig.IC2Selection = TIM_ICSELECTION_DIRECTTI;
  sConfig.IC2Prescaler = TIM_ICPSC_DIV1;
  sConfig.IC2Filter = 0;
  if (HAL_TIM_Encoder_Init(&htim2, &sConfig) != HAL_OK)
  {
    Error_Handler();
  }
  sMasterConfig.MasterOutputTrigger = TIM_TRGO_RESET;
  sMasterConfig.MasterSlaveMode = TIM_MASTERSLAVEMODE_DISABLE;
  if (HAL_TIMEx_MasterConfigSynchronization(&htim2, &sMasterConfig) != HAL_OK)
  {
    Error_Handler();
  }

}

static void MX_TIM3_Init(void)
{

  TIM_Encoder_InitTypeDef sConfig = {0};
  TIM_MasterConfigTypeDef sMasterConfig = {0};

  htim3.Instance = TIM3;
  htim3.Init.Prescaler = 0;
  htim3.Init.CounterMode = TIM_COUNTERMODE_UP;
  htim3.Init.Period = 65535;
  htim3.Init.ClockDivision = TIM_CLOCKDIVISION_DIV1;
  htim3.Init.AutoReloadPreload = TIM_AUTORELOAD_PRELOAD_DISABLE;
  sConfig.EncoderMode = TIM_ENCODERMODE_TI1;
  sConfig.IC1Polarity = TIM_ICPOLARITY_RISING;
  sConfig.IC1Selection = TIM_ICSELECTION_DIRECTTI;
  sConfig.IC1Prescaler = TIM_ICPSC_DIV1;
  sConfig.IC1Filter = 0;
  sConfig.IC2Polarity = TIM_ICPOLARITY_RISING;
  sConfig.IC2Selection = TIM_ICSELECTION_DIRECTTI;
  sConfig.IC2Prescaler = TIM_ICPSC_DIV1;
  sConfig.IC2Filter = 0;
  if (HAL_TIM_Encoder_Init(&htim3, &sConfig) != HAL_OK)
  {
    Error_Handler();
  }
  sMasterConfig.MasterOutputTrigger = TIM_TRGO_RESET;
  sMasterConfig.MasterSlaveMode = TIM_MASTERSLAVEMODE_DISABLE;
  if (HAL_TIMEx_MasterConfigSynchronization(&htim3, &sMasterConfig) != HAL_OK)
  {
    Error_Handler();
  }

}

static void MX_TIM4_Init(void)
{

  TIM_MasterConfigTypeDef sMasterConfig = {0};
  TIM_OC_InitTypeDef sConfigOC = {0};

  htim4.Instance = TIM4;
  htim4.Init.Prescaler = 36;
  htim4.Init.CounterMode = TIM_COUNTERMODE_UP;
  htim4.Init.Period = 65535;
  htim4.Init.ClockDivision = TIM_CLOCKDIVISION_DIV1;
  htim4.Init.AutoReloadPreload = TIM_AUTORELOAD_PRELOAD_DISABLE;
  if (HAL_TIM_PWM_Init(&htim4) != HAL_OK)
  {
    Error_Handler();
  }
  sMasterConfig.MasterOutputTrigger = TIM_TRGO_RESET;
  sMasterConfig.MasterSlaveMode = TIM_MASTERSLAVEMODE_DISABLE;
  if (HAL_TIMEx_MasterConfigSynchronization(&htim4, &sMasterConfig) != HAL_OK)
  {
    Error_Handler();
  }
  sConfigOC.OCMode = TIM_OCMODE_PWM1;
  sConfigOC.Pulse = 0;
  sConfigOC.OCPolarity = TIM_OCPOLARITY_HIGH;
  sConfigOC.OCFastMode = TIM_OCFAST_DISABLE;
  if (HAL_TIM_PWM_ConfigChannel(&htim4, &sConfigOC, TIM_CHANNEL_1) != HAL_OK)
  {
    Error_Handler();
  }
  if (HAL_TIM_PWM_ConfigChannel(&htim4, &sConfigOC, TIM_CHANNEL_3) != HAL_OK)
  {
    Error_Handler();
  }
  HAL_TIM_MspPostInit(&htim4);

}

static void MX_TIM5_Init(void)
{

  TIM_ClockConfigTypeDef sClockSourceConfig = {0};
  TIM_MasterConfigTypeDef sMasterConfig = {0};
  TIM_OC_InitTypeDef sConfigOC = {0};

  htim5.Instance = TIM5;
  htim5.Init.Prescaler = 36;
  htim5.Init.CounterMode = TIM_COUNTERMODE_UP;
  htim5.Init.Period = 256;
  htim5.Init.ClockDivision = TIM_CLOCKDIVISION_DIV1;
  htim5.Init.AutoReloadPreload = TIM_AUTORELOAD_PRELOAD_DISABLE;
  if (HAL_TIM_Base_Init(&htim5) != HAL_OK)
  {
    Error_Handler();
  }
  sClockSourceConfig.ClockSource = TIM_CLOCKSOURCE_INTERNAL;
  if (HAL_TIM_ConfigClockSource(&htim5, &sClockSourceConfig) != HAL_OK)
  {
    Error_Handler();
  }
  if (HAL_TIM_PWM_Init(&htim5) != HAL_OK)
  {
    Error_Handler();
  }
  sMasterConfig.MasterOutputTrigger = TIM_TRGO_RESET;
  sMasterConfig.MasterSlaveMode = TIM_MASTERSLAVEMODE_DISABLE;
  if (HAL_TIMEx_MasterConfigSynchronization(&htim5, &sMasterConfig) != HAL_OK)
  {
    Error_Handler();
  }
  sConfigOC.OCMode = TIM_OCMODE_PWM1;
  sConfigOC.Pulse = 0;
  sConfigOC.OCPolarity = TIM_OCPOLARITY_HIGH;
  sConfigOC.OCFastMode = TIM_OCFAST_DISABLE;
  if (HAL_TIM_PWM_ConfigChannel(&htim5, &sConfigOC, TIM_CHANNEL_1) != HAL_OK)
  {
    Error_Handler();
  }
  if (HAL_TIM_PWM_ConfigChannel(&htim5, &sConfigOC, TIM_CHANNEL_2) != HAL_OK)
  {
    Error_Handler();
  }
  HAL_TIM_MspPostInit(&htim5);

}

static void MX_TIM8_Init(void)
{

  TIM_ClockConfigTypeDef sClockSourceConfig = {0};
  TIM_MasterConfigTypeDef sMasterConfig = {0};
  TIM_OC_InitTypeDef sConfigOC = {0};
  TIM_BreakDeadTimeConfigTypeDef sBreakDeadTimeConfig = {0};

  htim8.Instance = TIM8;
  htim8.Init.Prescaler = 36;
  htim8.Init.CounterMode = TIM_COUNTERMODE_UP;
  htim8.Init.Period = 255;
  htim8.Init.ClockDivision = TIM_CLOCKDIVISION_DIV1;
  htim8.Init.RepetitionCounter = 0;
  htim8.Init.AutoReloadPreload = TIM_AUTORELOAD_PRELOAD_DISABLE;
  if (HAL_TIM_Base_Init(&htim8) != HAL_OK)
  {
    Error_Handler();
  }
  sClockSourceConfig.ClockSource = TIM_CLOCKSOURCE_INTERNAL;
  if (HAL_TIM_ConfigClockSource(&htim8, &sClockSourceConfig) != HAL_OK)
  {
    Error_Handler();
  }
  if (HAL_TIM_PWM_Init(&htim8) != HAL_OK)
  {
    Error_Handler();
  }
  sMasterConfig.MasterOutputTrigger = TIM_TRGO_RESET;
  sMasterConfig.MasterSlaveMode = TIM_MASTERSLAVEMODE_DISABLE;
  if (HAL_TIMEx_MasterConfigSynchronization(&htim8, &sMasterConfig) != HAL_OK)
  {
    Error_Handler();
  }
  sConfigOC.OCMode = TIM_OCMODE_PWM1;
  sConfigOC.Pulse = 0;
  sConfigOC.OCPolarity = TIM_OCPOLARITY_HIGH;
  sConfigOC.OCNPolarity = TIM_OCNPOLARITY_HIGH;
  sConfigOC.OCFastMode = TIM_OCFAST_DISABLE;
  sConfigOC.OCIdleState = TIM_OCIDLESTATE_RESET;
  sConfigOC.OCNIdleState = TIM_OCNIDLESTATE_RESET;
  if (HAL_TIM_PWM_ConfigChannel(&htim8, &sConfigOC, TIM_CHANNEL_1) != HAL_OK)
  {
    Error_Handler();
  }
  sBreakDeadTimeConfig.OffStateRunMode = TIM_OSSR_DISABLE;
  sBreakDeadTimeConfig.OffStateIDLEMode = TIM_OSSI_DISABLE;
  sBreakDeadTimeConfig.LockLevel = TIM_LOCKLEVEL_OFF;
  sBreakDeadTimeConfig.DeadTime = 0;
  sBreakDeadTimeConfig.BreakState = TIM_BREAK_DISABLE;
  sBreakDeadTimeConfig.BreakPolarity = TIM_BREAKPOLARITY_HIGH;
  sBreakDeadTimeConfig.AutomaticOutput = TIM_AUTOMATICOUTPUT_DISABLE;
  if (HAL_TIMEx_ConfigBreakDeadTime(&htim8, &sBreakDeadTimeConfig) != HAL_OK)
  {
    Error_Handler();
  }
  HAL_TIM_MspPostInit(&htim8);

}

static void MX_TIM11_Init(void)
{

  TIM_OC_InitTypeDef sConfigOC = {0};

  htim11.Instance = TIM11;
  htim11.Init.Prescaler = 36;
  htim11.Init.CounterMode = TIM_COUNTERMODE_UP;
  htim11.Init.Period = 65535;
  htim11.Init.ClockDivision = TIM_CLOCKDIVISION_DIV1;
  htim11.Init.AutoReloadPreload = TIM_AUTORELOAD_PRELOAD_DISABLE;
  if (HAL_TIM_Base_Init(&htim11) != HAL_OK)
  {
    Error_Handler();
  }
  if (HAL_TIM_PWM_Init(&htim11) != HAL_OK)
  {
    Error_Handler();
  }
  sConfigOC.OCMode = TIM_OCMODE_PWM1;
  sConfigOC.Pulse = 0;
  sConfigOC.OCPolarity = TIM_OCPOLARITY_HIGH;
  sConfigOC.OCFastMode = TIM_OCFAST_DISABLE;
  if (HAL_TIM_PWM_ConfigChannel(&htim11, &sConfigOC, TIM_CHANNEL_1) != HAL_OK)
  {
    Error_Handler();
  }
  HAL_TIM_MspPostInit(&htim11);

}

static void MX_TIM12_Init(void)
{

  TIM_ClockConfigTypeDef sClockSourceConfig = {0};
  TIM_OC_InitTypeDef sConfigOC = {0};

  htim12.Instance = TIM12;
  htim12.Init.Prescaler = 36;
  htim12.Init.CounterMode = TIM_COUNTERMODE_UP;
  htim12.Init.Period = 256;
  htim12.Init.ClockDivision = TIM_CLOCKDIVISION_DIV1;
  htim12.Init.AutoReloadPreload = TIM_AUTORELOAD_PRELOAD_DISABLE;
  if (HAL_TIM_Base_Init(&htim12) != HAL_OK)
  {
    Error_Handler();
  }
  sClockSourceConfig.ClockSource = TIM_CLOCKSOURCE_INTERNAL;
  if (HAL_TIM_ConfigClockSource(&htim12, &sClockSourceConfig) != HAL_OK)
  {
    Error_Handler();
  }
  if (HAL_TIM_PWM_Init(&htim12) != HAL_OK)
  {
    Error_Handler();
  }
  sConfigOC.OCMode = TIM_OCMODE_PWM1;
  sConfigOC.Pulse = 0;
  sConfigOC.OCPolarity = TIM_OCPOLARITY_HIGH;
  sConfigOC.OCFastMode = TIM_OCFAST_DISABLE;
  if (HAL_TIM_PWM_ConfigChannel(&htim12, &sConfigOC, TIM_CHANNEL_1) != HAL_OK)
  {
    Error_Handler();
  }
  HAL_TIM_MspPostInit(&htim12);

}

static void MX_TIM13_Init(void)
{

  TIM_OC_InitTypeDef sConfigOC = {0};

  htim13.Instance = TIM13;
  htim13.Init.Prescaler = 36;
  htim13.Init.CounterMode = TIM_COUNTERMODE_UP;
  htim13.Init.Period = 65535;
  htim13.Init.ClockDivision = TIM_CLOCKDIVISION_DIV1;
  htim13.Init.AutoReloadPreload = TIM_AUTORELOAD_PRELOAD_DISABLE;
  if (HAL_TIM_Base_Init(&htim13) != HAL_OK)
  {
    Error_Handler();
  }
  if (HAL_TIM_PWM_Init(&htim13) != HAL_OK)
  {
    Error_Handler();
  }
  sConfigOC.OCMode = TIM_OCMODE_PWM1;
  sConfigOC.Pulse = 0;
  sConfigOC.OCPolarity = TIM_OCPOLARITY_HIGH;
  sConfigOC.OCFastMode = TIM_OCFAST_DISABLE;
  if (HAL_TIM_PWM_ConfigChannel(&htim13, &sConfigOC, TIM_CHANNEL_1) != HAL_OK)
  {
    Error_Handler();
  }
  HAL_TIM_MspPostInit(&htim13);

}

static void MX_TIM14_Init(void)
{

  htim14.Instance = TIM14;
  htim14.Init.Prescaler = 0;
  htim14.Init.CounterMode = TIM_COUNTERMODE_UP;
  htim14.Init.Period = 65535;
  htim14.Init.ClockDivision = TIM_CLOCKDIVISION_DIV1;
  htim14.Init.AutoReloadPreload = TIM_AUTORELOAD_PRELOAD_DISABLE;
  if (HAL_TIM_Base_Init(&htim14) != HAL_OK)
  {
    Error_Handler();
  }

}

static void MX_USART3_UART_Init(void)
{

  huart3.Instance = USART3;
  huart3.Init.BaudRate = 115200;
  huart3.Init.WordLength = UART_WORDLENGTH_8B;
  huart3.Init.StopBits = UART_STOPBITS_1;
  huart3.Init.Parity = UART_PARITY_NONE;
  huart3.Init.Mode = UART_MODE_TX_RX;
  huart3.Init.HwFlowCtl = UART_HWCONTROL_NONE;
  huart3.Init.OverSampling = UART_OVERSAMPLING_16;
  if (HAL_UART_Init(&huart3) != HAL_OK)
  {
    Error_Handler();
  }

}

static void MX_GPIO_Init(void)
{
  GPIO_InitTypeDef GPIO_InitStruct = {0};

  /* GPIO Ports Clock Enable */
  __HAL_RCC_GPIOC_CLK_ENABLE();
  __HAL_RCC_GPIOF_CLK_ENABLE();
  __HAL_RCC_GPIOH_CLK_ENABLE();
  __HAL_RCC_GPIOA_CLK_ENABLE();
  __HAL_RCC_GPIOB_CLK_ENABLE();
  __HAL_RCC_GPIOE_CLK_ENABLE();
  __HAL_RCC_GPIOD_CLK_ENABLE();

  /*Configure GPIO pin Output Level */
  HAL_GPIO_WritePin(GPIOF, GPIO_PIN_6|GPIO_PIN_9, GPIO_PIN_RESET);

  /*Configure GPIO pin Output Level */
  HAL_GPIO_WritePin(GPIOA, GPIO_PIN_2|GPIO_PIN_3, GPIO_PIN_RESET);

  /*Configure GPIO pin Output Level */
  HAL_GPIO_WritePin(GPIOB, GPIO_PIN_0|GPIO_PIN_15, GPIO_PIN_RESET);

  /*Configure GPIO pin Output Level */
  HAL_GPIO_WritePin(GPIOD, GPIO_PIN_13|GPIO_PIN_15, GPIO_PIN_RESET);

  /*Configure GPIO pins : PF6 PF9 */
  GPIO_InitStruct.Pin = GPIO_PIN_6|GPIO_PIN_9;
  GPIO_InitStruct.Mode = GPIO_MODE_OUTPUT_PP;
  GPIO_InitStruct.Pull = GPIO_NOPULL;
  GPIO_InitStruct.Speed = GPIO_SPEED_FREQ_LOW;
  HAL_GPIO_Init(GPIOF, &GPIO_InitStruct);

  /*Configure GPIO pins : PA2 PA3 */
  GPIO_InitStruct.Pin = GPIO_PIN_2|GPIO_PIN_3;
  GPIO_InitStruct.Mode = GPIO_MODE_OUTPUT_PP;
  GPIO_InitStruct.Pull = GPIO_NOPULL;
  GPIO_InitStruct.Speed = GPIO_SPEED_FREQ_LOW;
  HAL_GPIO_Init(GPIOA, &GPIO_InitStruct);

  /*Configure GPIO pins : PB0 PB15 */
  GPIO_InitStruct.Pin = GPIO_PIN_0|GPIO_PIN_15;
  GPIO_InitStruct.Mode = GPIO_MODE_OUTPUT_PP;
  GPIO_InitStruct.Pull = GPIO_NOPULL;
  GPIO_InitStruct.Speed = GPIO_SPEED_FREQ_LOW;
  HAL_GPIO_Init(GPIOB, &GPIO_InitStruct);

  /*Configure GPIO pins : PD13 PD15 */
  GPIO_InitStruct.Pin = GPIO_PIN_13|GPIO_PIN_15;
  GPIO_InitStruct.Mode = GPIO_MODE_OUTPUT_PP;
  GPIO_InitStruct.Pull = GPIO_NOPULL;
  GPIO_InitStruct.Speed = GPIO_SPEED_FREQ_LOW;
  HAL_GPIO_Init(GPIOD, &GPIO_InitStruct);

}

void Error_Handler(void)
{
	__disable_irq();
	while (1) {
	}
}
